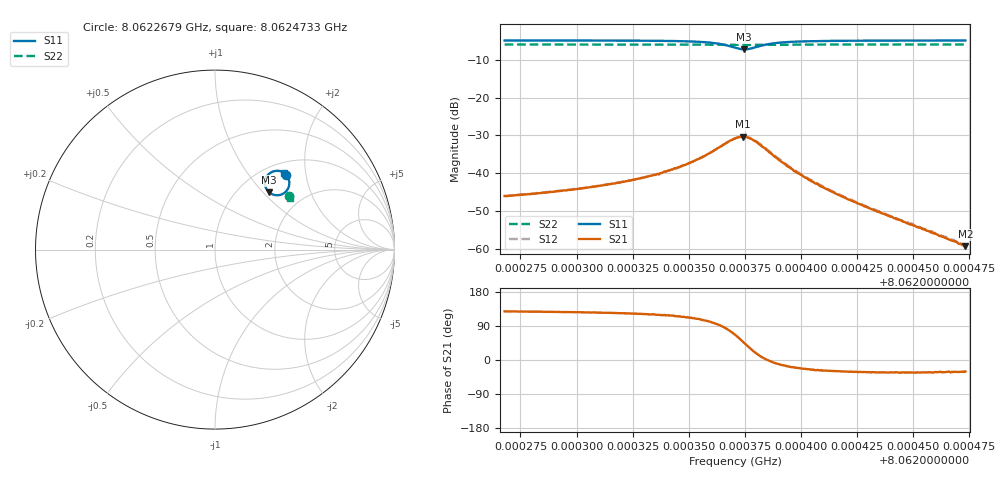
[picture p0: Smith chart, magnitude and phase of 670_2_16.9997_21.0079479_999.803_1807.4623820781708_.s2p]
#  HZ  S  RI  R  50.00
! Rohde & Schwarz Vector Network Analyzer
! Rohde-Schwarz,ZNB20-2Port,1311601062101988,3.16
! Created: UTC 3/20/2024, 11:22:07 PM
! freq[Hz]  re:S11  im:S11  re:S21  im:S21  re:S12  im:S12  re:S22  im:S22
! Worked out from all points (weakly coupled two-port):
!   401 points, 8.0622679 GHz to 8.0624733 GHz, reference 50 ohm
!   highest |S21| = -30.32 dB at 8.0623742 GHz (marker M1); lowest = -59.4 dB at 8.0624733 GHz (marker M2)
!   lowest |S11| = -7.1 dB at 8.0623747 GHz (marker M3), VSWR 2.57, Z = 68.3 + j54.1 ohm
!   |S11| at or under -10 dB: nowhere
!   |S22| runs from -6.0 to -5.9 dB; largest |S21 - S12| = 0.0013
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8.06226793e9  0.3956 0.4182  -0.00309 0.0039  -0.00285 0.00409  0.4132 0.2967
8.06228077e9  0.3976 0.4161  -0.00324 0.00422  -0.003 0.00443  0.4137 0.2958
8.06230234e9  0.4012 0.4115  -0.00368 0.00511  -0.00339 0.00534  0.4144 0.2945
8.06232031e9  0.4052 0.4051  -0.00422 0.00635  -0.00387 0.0067  0.4153 0.2933
8.06233675e9  0.4101 0.3945  -0.0047 0.00842  -0.00432 0.00886  0.4158 0.292
8.06234548e9  0.413 0.3845  -0.00509 0.0108  -0.00442 0.0112  0.4162 0.2912
8.06235472e9  0.4141 0.3653  -0.00478 0.0147  -0.00389 0.0151  0.4163 0.2899
8.06236396e9  0.3997 0.3288  -0.000613 0.0223  0.000469 0.0222  0.4153 0.2881
8.06236756e9  0.379 0.3113  0.00451 0.0256  0.00561 0.0252  0.4147 0.2874
8.06237064e9  0.3486 0.3028  0.0114 0.0265  0.0122 0.0261  0.4132 0.2872
8.06237423e9  0.306 0.3158  0.0205 0.0226  0.0211 0.0222  0.4115 0.2881
8.06237475e9  0.3008 0.3198  0.0215 0.0215  0.0221 0.0211  0.4114 0.2881
8.0623768e9  0.2848 0.3417  0.0243 0.0163  0.0251 0.0159  0.4109 0.2893
8.06237937e9  0.2781 0.3715  0.025 0.00947  0.0259 0.00901  0.4109 0.2907
8.06238604e9  0.3008 0.4217  0.0187 -0.000895  0.0193 -0.00167  0.413 0.2923
8.06239272e9  0.327 0.4362  0.0128 -0.00331  0.013 -0.00409  0.4146 0.2924
8.06239786e9  0.3409 0.4388  0.00978 -0.00358  0.00974 -0.00428  0.4155 0.2921
8.06240505e9  0.354 0.4386  0.00696 -0.00338  0.00708 -0.00371  0.4163 0.2915
8.06240967e9  0.3596 0.4377  0.00575 -0.00311  0.00577 -0.00346  0.4167 0.2911
8.06242096e9  0.3691 0.435  0.00388 -0.0023  0.00384 -0.00258  0.4174 0.2904
8.06243945e9  0.378 0.4312  0.00226 -0.00147  0.00221 -0.00162  0.4183 0.2891
8.06247334e9  0.3864 0.4262  0.000929 -0.000542  0.000917 -0.000605  0.4197 0.2871
